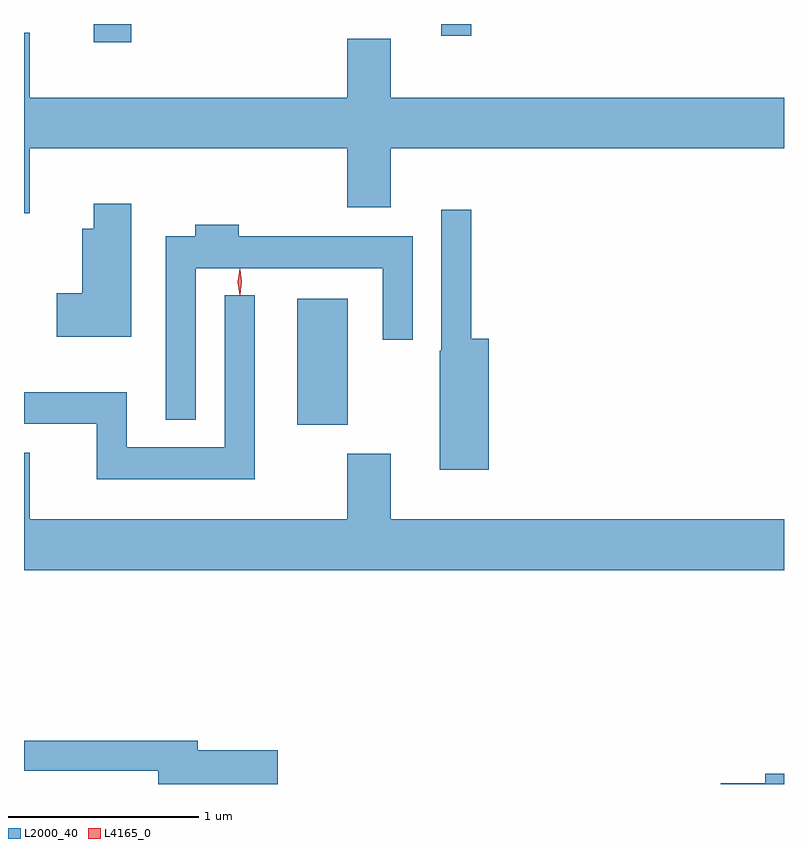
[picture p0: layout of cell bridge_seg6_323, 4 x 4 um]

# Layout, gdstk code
import gdstk
lib = gdstk.Library(unit=1e-6, precision=1e-09)
def R(c, l, rs):  # rectangles x0, y0, x1, y1
    for r in rs: c.add(gdstk.rectangle(r[:2], r[2:], *l))
def P(c, l, *ps):  # polygons
    for p in ps: c.add(gdstk.Polygon(p, *l))
L2000_40 = (2000, 40)
L4165_0 = (4165, 0)

bridge_seg6_323 = lib.new_cell('bridge_seg6_323')
R(bridge_seg6_323, L2000_40, [(1291.216,1550.801,1291.484,1551.464), (1290.146,1552.816,1290.344,1552.911), (1291.976,1552.848,1292.134,1552.911)])
P(bridge_seg6_323, L2000_40, [(1289.809,1552.256),(1291.481,1552.256),(1291.481,1551.946),(1291.709,1551.946),(1291.709,1552.256),(1293.779,1552.256),(1293.779,1552.524),(1291.709,1552.524),(1291.709,1552.834),(1291.481,1552.834),(1291.481,1552.524),(1289.809,1552.524),(1289.809,1552.864),(1289.779,1552.864),(1289.779,1551.916),(1289.809,1551.916)],
  [(1290.344,1551.964),(1290.146,1551.964),(1290.146,1551.834),(1290.086,1551.834),(1290.086,1551.494),(1289.951,1551.494),(1289.951,1551.266),(1290.344,1551.266)],
  [(1292.224,1551.254),(1292.134,1551.254),(1292.134,1551.933),(1291.976,1551.933),(1291.976,1551.19),(1291.966,1551.19),(1291.966,1550.566),(1292.224,1550.566)],
  [(1290.684,1551.626),(1291.666,1551.626),(1291.666,1551.248),(1291.824,1551.248),(1291.824,1551.794),(1290.909,1551.794),(1290.909,1551.854),(1290.681,1551.854),(1290.681,1551.794),(1290.526,1551.794),(1290.526,1550.828),(1290.684,1550.828)],
  [(1290.994,1551.483),(1290.836,1551.483),(1290.836,1550.684),(1290.319,1550.684),(1290.319,1550.974),(1289.779,1550.974),(1289.779,1550.806),(1290.161,1550.806),(1290.161,1550.516),(1290.994,1550.516)],
  [(1293.779,1550.304),(1291.709,1550.304),(1291.709,1550.649),(1291.481,1550.649),(1291.481,1550.304),(1289.809,1550.304),(1289.809,1550.654),(1289.779,1550.654),(1289.779,1550.036),(1293.779,1550.036)],
  [(1291.114,1549.089),(1290.694,1549.089),(1290.694,1549.139),(1289.779,1549.139),(1289.779,1548.981),(1290.486,1548.981),(1290.486,1548.911),(1291.114,1548.911)],
  [(1293.779,1548.964),(1293.681,1548.964),(1293.681,1548.914),(1293.446,1548.914),(1293.446,1548.911),(1293.779,1548.911)])
P(bridge_seg6_323, L4165_0, [(1290.914,1551.484),(1290.905,1551.553),(1290.914,1551.622),(1290.915,1551.623),(1290.915,1551.622),(1290.925,1551.553),(1290.915,1551.484),(1290.915,1551.484)],
  [(1290.914,1551.487),(1290.905,1551.554),(1290.914,1551.62),(1290.915,1551.621),(1290.916,1551.62),(1290.925,1551.554),(1290.916,1551.487),(1290.915,1551.487)])

lib.write_gds('bridge_seg6_323.gds')
